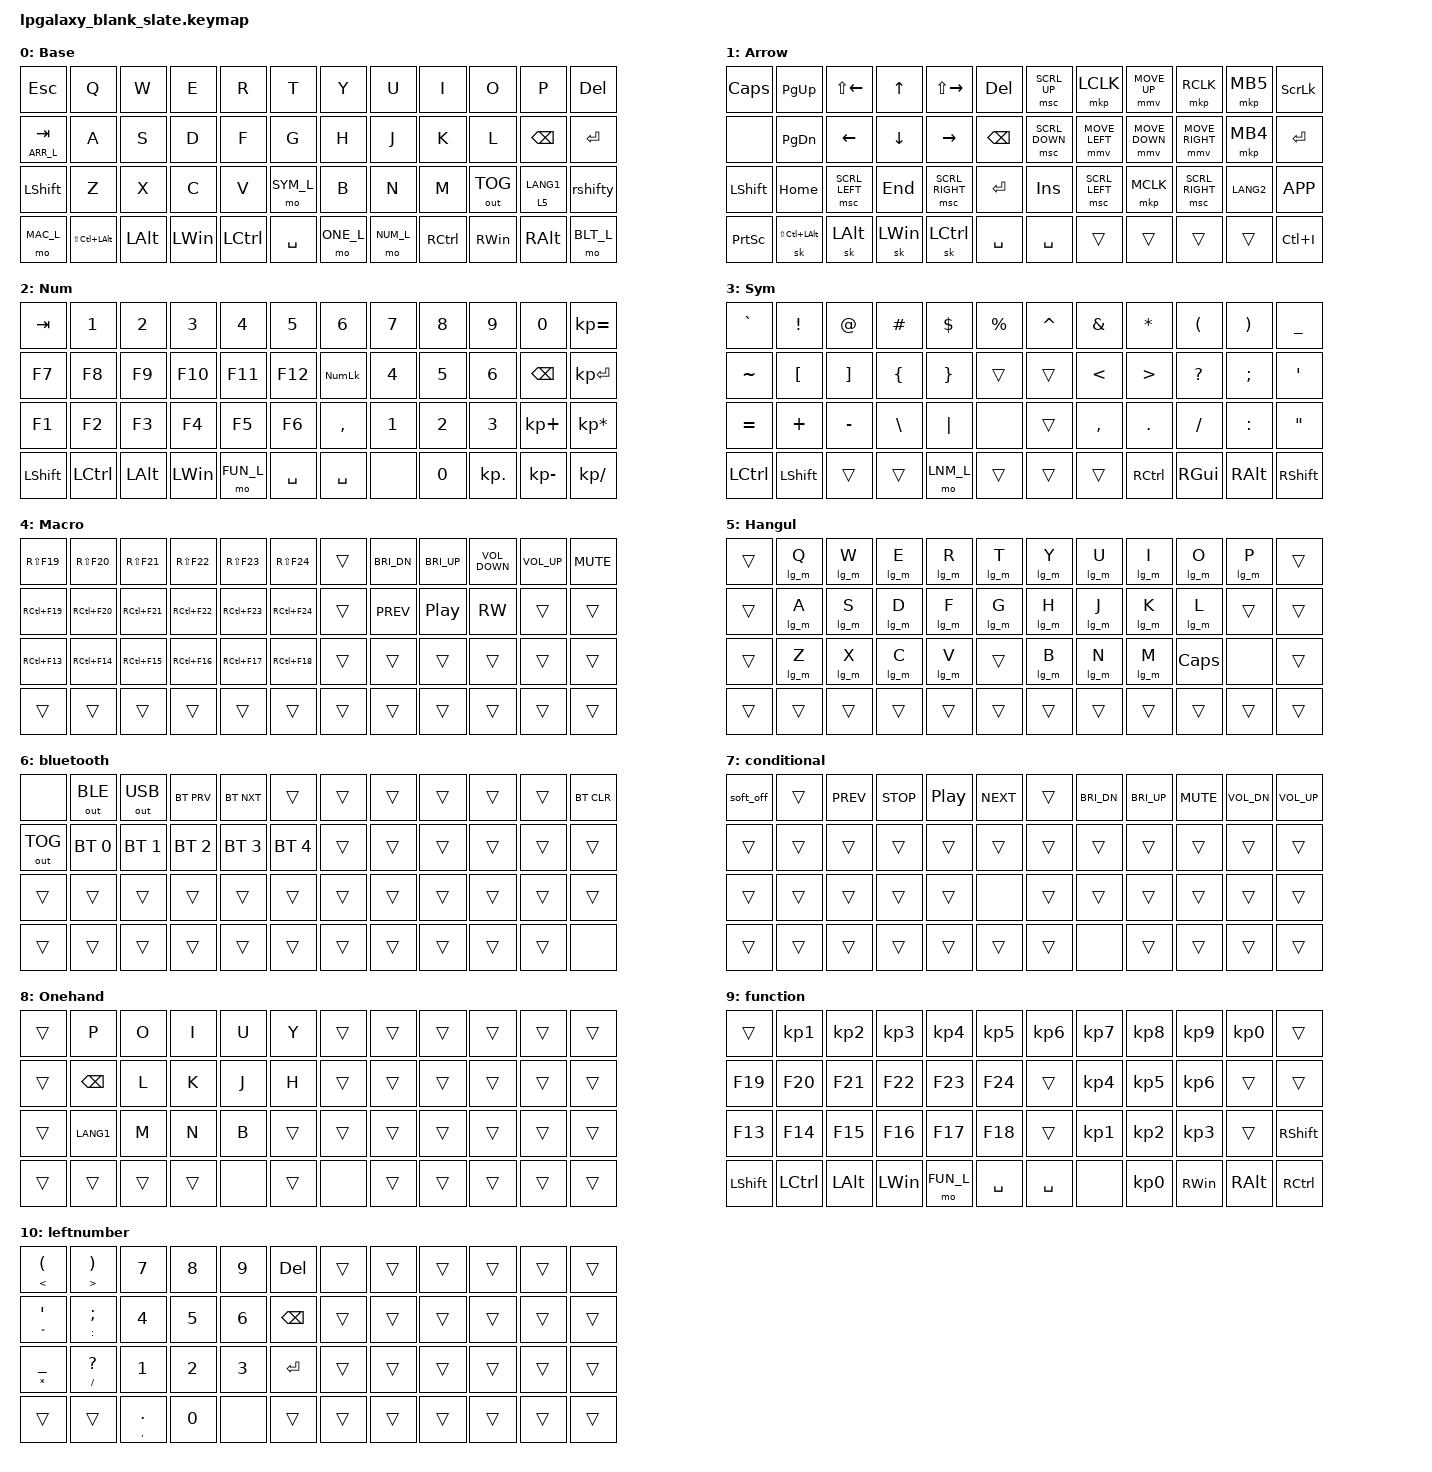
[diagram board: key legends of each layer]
/*
 * Copyright (c) 2022 Pete Johanson
 *
 * SPDX-License-Identifier: MIT
 */

 // Q6's plank keymap

// header
#include <behaviors.dtsi>  // for &kp, &mo, &trans, &none, &bootloader ....
#include <dt-bindings/zmk/keys.h>  // for keycodes (A, B, C, ..., ESC, TAB, ...)
#include <dt-bindings/zmk/bt.h>  // for BT_SEL and BT_CLR
#include <dt-bindings/zmk/outputs.h>  // for usb outputs or bluetooth outputs
#include <dt-bindings/zmk/pointing.h>  // for mouse keys
#include <dt-bindings/zmk/mouse.h>  // mouse key

// layers
#define ARR_L 1
#define NUM_L 2
#define SYM_L 3
#define MAC_L 4
#define HAN_L 5
#define BLT_L 6
#define CON_L 7
#define ONE_L 8
#define FUN_L 9
#define LNM_L 10

// lt config
&lt { 
    quick_tap_ms = <200>;
    flavor = "hold-preferred";
    };

// soft off config
&soft_off {hold-time-ms = <1000>; };

// keymap
/ {
    chosen {
        zmk,physical-layout = &layout_ortho_4x12_all1u;
        };
    
    // tap dance term
    tap_dances {
    	rshifty: shift_caps_word {
            compatible = "zmk,behavior-tap-dance";
            #binding-cells = <0>;
            tapping-term-ms = <150>;
            bindings = <&kp RSHFT>, <&kp CAPSLOCK>;
	    };
    };

    // conditional layer
    conditional_layers {
        compatible = "zmk,conditional-layers";
        tri_layer {
            if-layers = <2 3>;
            then-layer = <7>;
        };
    };

    // macros
    macros {
        lg_m: lg_m {
            compatible = "zmk,behavior-macro-one-param";
            #binding-cells = <1>;
            wait-ms = <40>;
            tap-ms = <40>;
            bindings
                = <&macro_tap &kp LANG1>
                , <&macro_param_1to1>
                , <&macro_tap &kp MACRO_PLACEHOLDER>
                , <&macro_tap &kp LANG1>
                ;
        };

        win_off: win_off {
            compatible = "zmk,behavior-macro";
            #binding-cells = <0>;
            wait-ms = <40>;
            tap-ms = <40>;
            bindings
                = <&macro_press   &kp LWIN>
                , <&macro_tap     &kp X>
                , <&macro_release &kp LWIN>
                , <&macro_tap     &kp U &kp U>
                ;
        };

        siql: siql {
            compatible = "zmk,behavior-macro";
            #binding-cells = <0>;
            wait-ms = <40>;
            tap-ms = <40>;
            bindings
                = <&macro_tap     &kp S &kp I &kp Q &kp L &kp N4 &kp N2 &kp N9 &kp N6>
                ;
        };
    };

    // keymap
    keymap {
        compatible = "zmk,keymap";

        base_layer {
            display-name = "Base";
            bindings = <
&kp ESC        &kp Q             &kp W      &kp E       &kp R          &kp T          &kp Y            &kp U          &kp I       &kp O        &kp P         &kp DEL
&lt ARR_L TAB  &kp A             &kp S      &kp D       &kp F          &kp G          &kp H            &kp J          &kp K       &kp L        &kp BSPC      &kp ENTER
&kp LSHFT      &kp Z             &kp X      &kp C       &kp V          &mo SYM_L      &kp B            &kp N          &kp M       &out OUT_TOG &lt 5 LANG1   &rshifty
&mo MAC_L      &kp LS(LC(LALT))  &kp LALT   &kp LWIN    &kp LCTRL      &kp SPACE      &mo ONE_L        &mo NUM_L      &kp RCTRL   &kp RWIN     &kp RALT      &mo BLT_L
            >;
        };

        arr_layer {
            display-name = "Arrow";
            bindings = <
&kp CAPS    &kp PG_UP        &kp LS(LEFT)    &kp UP        &kp LS(RIGHT)    &kp DEL      &msc SCRL_UP      &mkp LCLK       &mmv MOVE_UP    &mkp RCLK        &mkp MB5   &kp SCROLLLOCK
&none       &kp PG_DN        &kp LEFT        &kp DOWN      &kp RIGHT        &kp BSPC     &msc SCRL_DOWN    &mmv MOVE_LEFT  &mmv MOVE_DOWN  &mmv MOVE_RIGHT  &mkp MB4   &kp ENTER
&kp LSHFT   &kp HOME         &msc SCRL_LEFT  &kp END       &msc SCRL_RIGHT  &kp ENTER    &kp INS           &msc SCRL_LEFT  &mkp MCLK       &msc SCRL_RIGHT  &kp LANG2  &kp K_APP
&kp PSCRN   &sk LS(LC(LALT)) &sk LALT        &sk LWIN      &sk LCTRL        &kp SPACE    &kp SPACE         &trans          &trans          &trans           &trans     &kp LC(I)
            >;
        };

        num_layer {
            display-name = "Num";
            bindings = <
&kp TAB     &kp N1      &kp N2    &kp N3    &kp N4     &kp N5      &kp N6       &kp N7     &kp N8      &kp N9       &kp N0        &kp KP_EQUAL
&kp F7      &kp F8      &kp F9    &kp F10   &kp F11    &kp F12     &kp KP_NUM   &kp N4     &kp N5      &kp N6       &kp BSPC      &kp KP_ENTER
&kp F1      &kp F2      &kp F3    &kp F4    &kp F5     &kp F6      &kp COMMA    &kp N1     &kp N2      &kp N3       &kp KP_PLUS   &kp KP_MULTIPLY
&kp LSHFT   &kp LCTRL   &kp LALT  &kp LWIN  &mo FUN_L  &kp SPACE   &kp SPACE    &none      &kp N0      &kp KP_DOT   &kp KP_MINUS  &kp KP_DIVIDE
            >;
        };

        sym_layer {
            display-name = "Sym";
            bindings = <
&kp GRAVE  &kp EXCL   &kp AT     &kp HASH   &kp DOLLAR   &kp PERCENT  &kp CARET    &kp AMPS   &kp ASTRK   &kp LPAR    &kp RPAR   &kp UNDER
&kp TILDE  &kp LBKT   &kp RBKT   &kp LBRC   &kp RBRC     &trans       &trans       &kp LT     &kp GT      &kp QMARK   &kp SEMI   &kp SQT
&kp EQUAL  &kp PLUS   &kp MINUS  &kp BSLH   &kp PIPE     &none        &trans       &kp COMMA  &kp DOT     &kp SLASH   &kp COLON  &kp DQT
&kp LCTRL  &kp LSHFT  &trans     &trans     &mo LNM_L    &trans       &trans       &trans     &kp RCTRL   &kp RGUI    &kp RALT   &kp RSHFT
            >;
        };

        macro_layer {
            display-name = "Macro";
            bindings = <
&kp RS(F19)    &kp RS(F20)    &kp RS(F21)    &kp RS(F22)    &kp RS(F23)    &kp RS(F24)    &trans      &kp C_BRI_DN      &kp C_BRI_UP      &kp C_VOLUME_DOWN      &kp C_VOLUME_UP      &kp C_MUTE
&kp RC(F19)    &kp RC(F20)    &kp RC(F21)    &kp RC(F22)    &kp RC(F23)    &kp RC(F24)    &trans      &kp C_PREV        &kp C_PP          &kp C_RW               &trans               &trans
&kp RC(F13)    &kp RC(F14)    &kp RC(F15)    &kp RC(F16)    &kp RC(F17)    &kp RC(F18)    &trans      &trans      &trans      &trans      &trans      &trans
&trans         &trans         &trans         &trans         &trans         &trans         &trans      &trans      &trans      &trans      &trans      &trans
            >;
        };

        hangul_layer {
            display-name = "Hangul";
            bindings = <
&trans    &lg_m Q    &lg_m W    &lg_m E    &lg_m R    &lg_m T    &lg_m Y    &lg_m U    &lg_m I    &lg_m O    &lg_m P    &trans
&trans    &lg_m A    &lg_m S    &lg_m D    &lg_m F    &lg_m G    &lg_m H    &lg_m J    &lg_m K    &lg_m L    &trans     &trans
&trans    &lg_m Z    &lg_m X    &lg_m C    &lg_m V    &trans     &lg_m B    &lg_m N    &lg_m M    &kp CAPS   &none      &trans
&trans    &trans     &trans     &trans     &trans     &trans     &trans     &trans     &trans     &trans     &trans     &trans
            >;
        };

        bluetooth_layer {
            display-name = "bluetooth";
            bindings = <
&none          &out OUT_BLE    &out OUT_USB     &bt BT_PRV      &bt BT_NXT      &trans          &trans      &trans      &trans      &trans      &trans      &bt BT_CLR
&out OUT_TOG   &bt BT_SEL 0    &bt BT_SEL 1     &bt BT_SEL 2    &bt BT_SEL 3    &bt BT_SEL 4    &trans      &trans      &trans      &trans      &trans      &trans
&trans         &trans          &trans           &trans          &trans          &trans          &trans      &trans      &trans      &trans      &trans      &trans
&trans         &trans          &trans           &trans          &trans          &trans          &trans      &trans      &trans      &trans      &trans      &none
            >;
        };

        conditional_layer {
            display-name = "conditional";
            bindings = <
&soft_off &trans        &kp C_PREV    &kp C_STOP    &kp C_PP      &kp C_NEXT  &trans    &kp C_BRI_DN  &kp C_BRI_UP  &kp C_MUTE   &kp C_VOL_DN   &kp C_VOL_UP
&trans    &trans        &trans        &trans        &trans        &trans      &trans    &trans        &trans        &trans       &trans         &trans
&trans    &trans        &trans        &trans        &trans        &none       &trans    &trans        &trans        &trans       &trans         &trans
&trans    &trans        &trans        &trans        &trans        &trans      &trans    &none         &trans        &trans       &trans         &trans
            >;
        };

        onehand_layer {
            display-name = "Onehand";
            bindings = <
&trans       &kp P      &kp O      &kp I      &kp U      &kp Y      &trans        &trans        &trans       &trans      &trans        &trans
&trans       &kp BSPC   &kp L      &kp K      &kp J      &kp H      &trans        &trans        &trans       &trans      &trans        &trans
&trans       &kp LANG1  &kp M      &kp N      &kp B      &trans     &trans        &trans        &trans       &trans      &trans        &trans
&trans       &trans     &trans     &trans     &none      &trans     &none         &trans        &trans       &trans      &trans        &trans
            >;
        };

        function_layer {
            display-name = "function";
            bindings = <
&trans      &kp KP_N1    &kp KP_N2   &kp KP_N3   &kp KP_N4   &kp KP_N5    &kp KP_N6    &kp KP_N7  &kp KP_N8   &kp KP_N9    &kp KP_N0   &trans
&kp F19     &kp F20      &kp F21     &kp F22     &kp F23     &kp F24      &trans       &kp KP_N4  &kp KP_N5   &kp KP_N6    &trans      &trans
&kp F13     &kp F14      &kp F15     &kp F16     &kp F17     &kp F18      &trans       &kp KP_N1  &kp KP_N2   &kp KP_N3    &trans      &kp RSHFT
&kp LSHFT   &kp LCTRL    &kp LALT    &kp LWIN    &mo FUN_L   &kp SPACE    &kp SPACE    &none      &kp KP_N0   &kp RWIN     &kp RALT    &kp RCTRL
            >;
        };

        leftnumber_layer {
            display-name = "leftnumber";
            bindings = <
&mt LT LPAR    &mt GT RPAR      &kp N7         &kp N8    &kp N9    &kp DEL     &trans        &trans        &trans       &trans      &trans        &trans
&mt DQT SQT    &mt COLON SEMI   &kp N4         &kp N5    &kp N6    &kp BSPC    &trans        &trans        &trans       &trans      &trans        &trans
&mt STAR UNDER &mt SLASH QMARK  &kp N1         &kp N2    &kp N3    &kp ENTER   &trans        &trans        &trans       &trans      &trans        &trans
&trans         &trans           &mt COMMA DOT  &kp N0    &none     &trans      &trans        &trans        &trans       &trans      &trans        &trans
            >;
        };
    };
};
